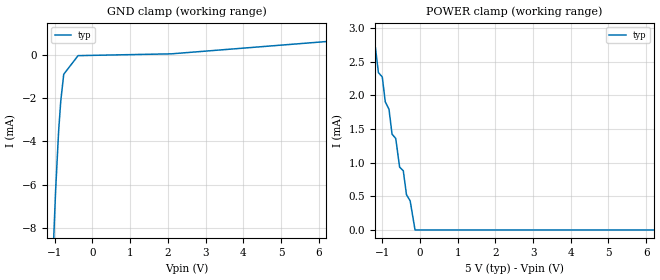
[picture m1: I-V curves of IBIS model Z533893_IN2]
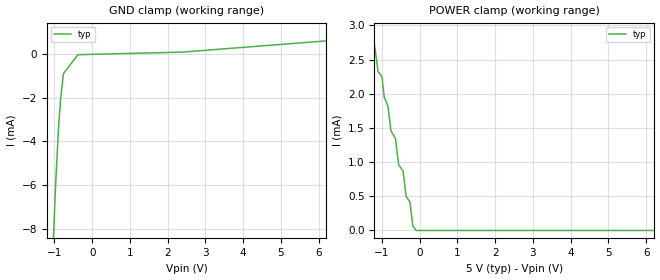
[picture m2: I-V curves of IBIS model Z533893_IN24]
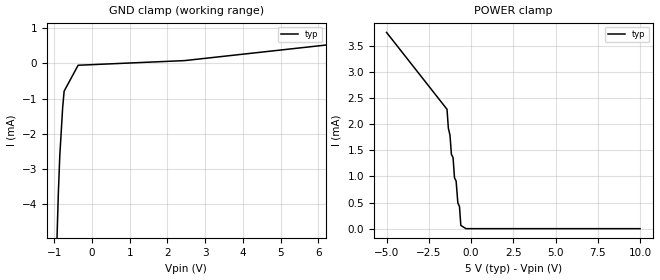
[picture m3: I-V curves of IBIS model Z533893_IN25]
| YOU ARE ONLY AUTHORIZED TO USE THIS SOFTWARE
| ACCORDING TO LICENSOR'S LICENSE RESTRICTIONS.
[IBIS Ver] 3.1
[File Name] mc10e154fn_pecl.ibs
[File Rev] 2.0
[Source] Measured and created by ICX Technology
[Date] Friday 7/14/00 9:07:49 AM
[Copyright]
| (C) COPYRIGHT 1993-2000
| MENTOR GRAPHICS CORPORATION
| ICX STANDARD LIBRARY, ICX PROJECT MODELING,
| ICX CUSTOM MODELING, ICX VENDOR MODEL
| ALL RIGHTS RESERVED.
| THE FOLLOWING ARE TRADEMARKS OR SERVICE MARKS OF
| MENTOR GRAPHICS CORPORATION:ICX (R), ICX STANDARD
| LIBRARY(R), ICX PROJECT MODELING(R), ICX CUSTOM
| MODELING(R), qualityIBIS(TM), MODELVIEWER(TM),
| AND MODELEDITOR(TM)
| ALL COPIES OF SOFTWARE, INCLUDING BUT NOT LIMITED TO
| ANY MODIFICATIONS, ENHANCEMENTS OR DERIVATIVE WORKS,
| MUST CONTAIN ALL MENTOR GRAPHICS CORPORATION'S
| NOTICES AND LEGENDS, INCLUDING THOSE EMBEDDED IN
| SOFTWARE AND THOSE AFFIXED TO SOFTWARE MEDIUM
| AND CONTAINER, AS RECEIVED FROM MENTOR GRAPHICS
| CORPORATION.
|  ZAP Model Builder 2.7
[Component] MC10E154FN_PECL
[Manufacturer] OnSemiconductor
[Package]
| variable   typ   min   max
R_pkg  .083ohms NA NA
L_pkg  4.299nH NA NA
C_pkg  1.045pF NA NA
[Pin] signal_name  model_name  R_pin  L_pin C_pin
1 VEE GND .08 3.94n .925p
2 MR Z533893_IN2 .082 4.14n .995p
3 D0A Z533893_IN5 .084 4.354n 1.065p
4 D0B Z533893_IN6 .086 4.583n 1.135p
5 D1A Z533893_IN5 .086 4.583n 1.135p
6 D1B Z533893_IN6 .084 4.354n 1.065p
7 D2A Z533893_IN5 .082 4.14n .995p
8 D2B Z533893_IN6 .08 3.94n .925p
9 VCCO POWER .082 4.14n .995p
10 Q0 Z533893_OUT10 .084 4.354n 1.065p
11 _Q0 Z533893_OUT11 .086 4.583n 1.135p
12 Q1 Z533893_OUT10 .086 4.583n 1.135p
13 _Q1 Z533893_OUT11 .084 4.354n 1.065p
14 Q2 Z533893_OUT17 .082 4.14n .995p
15 _Q2 Z533893_OUT18 .08 3.94n .925p
16 VCC POWER .082 4.14n .995p
17 Q3 Z533893_OUT17 .084 4.354n 1.065p
18 _Q3 Z533893_OUT18 .086 4.583n 1.135p
19 Q4 Z533893_OUT17 .086 4.583n 1.135p
20 _Q4 Z533893_OUT18 .084 4.354n 1.065p
21 VCCO POWER .082 4.14n .995p
22 D3A Z533893_IN24 .08 3.94n .925p
23 D3B Z533893_IN25 .082 4.14n .995p
24 D4A Z533893_IN24 .084 4.354n 1.065p
25 D4B Z533893_IN25 .086 4.583n 1.135p
26 SEL Z533893_IN27 .086 4.583n 1.135p
27 LEN1 Z533893_IN27 .084 4.354n 1.065p
28 LEN2 Z533893_IN28 .082 4.14n .995p
| Models and submodels in the file (11): Z533893_IN2 (Input_ECL), Z533893_IN24 (Input_ECL), Z533893_IN25 (Input_ECL), Z533893_IN27 (Input_ECL), Z533893_IN28 (Input_ECL), Z533893_IN5 (Input_ECL), Z533893_IN6 (Input_ECL), Z533893_OUT10 (Output_ECL), Z533893_OUT11 (Output_ECL), Z533893_OUT17 (Output_ECL), Z533893_OUT18 (Output_ECL)
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| (C) COPYRIGHT 1993-2000
| MENTOR GRAPHICS CORPORATION
| ICX STANDARD LIBRARY, ICX PROJECT MODELING,
| ICX CUSTOM MODELING, ICX VENDOR MODEL
| ALL RIGHTS RESERVED.
| THE FOLLOWING ARE TRADEMARKS OR SERVICE MARKS OF
| MENTOR GRAPHICS CORPORATION:ICX (R), ICX STANDARD
| LIBRARY(R), ICX PROJECT MODELING(R), ICX CUSTOM
| MODELING(R), qualityIBIS(TM), MODELVIEWER(TM),
| AND MODELEDITOR(TM)
| ALL COPIES OF SOFTWARE, INCLUDING BUT NOT LIMITED TO
| ANY MODIFICATIONS, ENHANCEMENTS OR DERIVATIVE WORKS,
| MUST CONTAIN ALL MENTOR GRAPHICS CORPORATION'S
| NOTICES AND LEGENDS, INCLUDING THOSE EMBEDDED IN
| SOFTWARE AND THOSE AFFIXED TO SOFTWARE MEDIUM
| AND CONTAINER, AS RECEIVED FROM MENTOR GRAPHICS
| CORPORATION.
| Model Application Version 1.89 2/18/99.
[Model] Z533893_IN2
Model_type Input_ECL
Vinl = 3.520V
Vinh = 3.870V
C_comp 4.000pF NA NA
| variable typ   min   max
[Voltage Range] 5.000V NA NA
[GND Clamp Reference] 0.000V NA NA
[POWER Clamp Reference] 5.000V NA NA
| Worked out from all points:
|   GND clamp passes 1 mA (typ) near -0.77 V on its own axis
|   POWER clamp passes 1 mA (typ) near -0.56 V on its own axis
[GND Clamp]
-5V       -239.4mA   NA         NA
-1.07V    -10.33mA   NA         NA
-976.4mV  -6.253mA   NA         NA
-896.1mV  -3.504mA   NA         NA
-839.3mV  -2.119mA   NA         NA
-761.7mV  -906.6uA   NA         NA
-380.8mV  -47.58uA   NA         NA
2.09V     34.77uA    NA         NA
10V       1.126mA    NA         NA
[POWER Clamp]
-5V       31.47mA    NA         NA
-1.381V   3.193mA    NA         NA
-1.18V    2.708mA    NA         NA
-1.102V   2.338mA    NA         NA
-999mV    2.273mA    NA         NA
-740mV    1.423mA    NA         NA
-642mV    1.36mA     NA         NA
-540mV    935.3uA    NA         NA
-442mV    879.9uA    NA         NA
-358mV    525.5uA    NA         NA
-130mV    0A         NA         NA
10V       0A         NA         NA
| (C) COPYRIGHT 1993-2000
| MENTOR GRAPHICS CORPORATION
| ICX STANDARD LIBRARY, ICX PROJECT MODELING,
| ICX CUSTOM MODELING, ICX VENDOR MODEL
| ALL RIGHTS RESERVED.
| THE FOLLOWING ARE TRADEMARKS OR SERVICE MARKS OF
| MENTOR GRAPHICS CORPORATION:ICX (R), ICX STANDARD
| LIBRARY(R), ICX PROJECT MODELING(R), ICX CUSTOM
| MODELING(R), qualityIBIS(TM), MODELVIEWER(TM),
| AND MODELEDITOR(TM)
| ALL COPIES OF SOFTWARE, INCLUDING BUT NOT LIMITED TO
| ANY MODIFICATIONS, ENHANCEMENTS OR DERIVATIVE WORKS,
| MUST CONTAIN ALL MENTOR GRAPHICS CORPORATION'S
| NOTICES AND LEGENDS, INCLUDING THOSE EMBEDDED IN
| SOFTWARE AND THOSE AFFIXED TO SOFTWARE MEDIUM
| AND CONTAINER, AS RECEIVED FROM MENTOR GRAPHICS
| CORPORATION.
| Model Application Version 1.89 2/18/99.
[Model] Z533893_IN24
Model_type Input_ECL
Vinl = 3.520V
Vinh = 3.870V
C_comp 4.000pF NA NA
| variable typ   min   max
[Voltage Range] 5.000V NA NA
[GND Clamp Reference] 0.000V NA NA
[POWER Clamp Reference] 5.000V NA NA
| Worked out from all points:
|   GND clamp passes 1 mA (typ) near -0.77 V on its own axis
|   POWER clamp passes 1 mA (typ) near -0.57 V on its own axis
[GND Clamp]
-5V       -240.4mA   NA         NA
-1.07V    -10.32mA   NA         NA
-976.5mV  -6.235mA   NA         NA
-896.5mV  -3.507mA   NA         NA
-839.3mV  -2.116mA   NA         NA
-761.8mV  -904.3uA   NA         NA
-380.9mV  -39.6uA    NA         NA
2.388V    78.97uA    NA         NA
10V       1.103mA    NA         NA
[POWER Clamp]
-5V       15.35mA    NA         NA
-1.4V     3.209mA    NA         NA
-1.2V     2.726mA    NA         NA
-1.102V   2.32mA     NA         NA
-842mV    1.819mA    NA         NA
-760mV    1.456mA    NA         NA
-642mV    1.344mA    NA         NA
-559mV    962.2uA    NA         NA
-442mV    870uA      NA         NA
-359mV    496.4uA    NA         NA
-91mV     0A         NA         NA
10V       0A         NA         NA
| (C) COPYRIGHT 1993-2000
| MENTOR GRAPHICS CORPORATION
| ICX STANDARD LIBRARY, ICX PROJECT MODELING,
| ICX CUSTOM MODELING, ICX VENDOR MODEL
| ALL RIGHTS RESERVED.
| THE FOLLOWING ARE TRADEMARKS OR SERVICE MARKS OF
| MENTOR GRAPHICS CORPORATION:ICX (R), ICX STANDARD
| LIBRARY(R), ICX PROJECT MODELING(R), ICX CUSTOM
| MODELING(R), qualityIBIS(TM), MODELVIEWER(TM),
| AND MODELEDITOR(TM)
| ALL COPIES OF SOFTWARE, INCLUDING BUT NOT LIMITED TO
| ANY MODIFICATIONS, ENHANCEMENTS OR DERIVATIVE WORKS,
| MUST CONTAIN ALL MENTOR GRAPHICS CORPORATION'S
| NOTICES AND LEGENDS, INCLUDING THOSE EMBEDDED IN
| SOFTWARE AND THOSE AFFIXED TO SOFTWARE MEDIUM
| AND CONTAINER, AS RECEIVED FROM MENTOR GRAPHICS
| CORPORATION.
| Model Application Version 1.89 2/18/99.
[Model] Z533893_IN25
Model_type Input_ECL
Vinl = 3.520V
Vinh = 3.870V
C_comp 4.000pF NA NA
| variable typ   min   max
[Voltage Range] 5.000V NA NA
[GND Clamp Reference] 0.000V NA NA
[POWER Clamp Reference] 5.000V NA NA
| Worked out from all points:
|   GND clamp passes 1 mA (typ) near -0.76 V on its own axis
|   POWER clamp passes 1 mA (typ) near -0.98 V on its own axis
[GND Clamp]
-5V       -232.7mA   NA         NA
-1.015V   -7.956mA   NA         NA
-896.1mV  -3.672mA   NA         NA
-858.4mV  -2.63mA    NA         NA
-781.4mV  -1.243mA   NA         NA
-742.3mV  -783.5uA   NA         NA
-371.1mV  -49.95uA   NA         NA
2.453V    81.97uA    NA         NA
10V       969.8uA    NA         NA
[POWER Clamp]
-5V       3.761mA    NA         NA
-1.421V   2.287mA    NA         NA
-1.342V   1.924mA    NA         NA
-1.245V   1.79mA     NA         NA
-1.162V   1.424mA    NA         NA
-1.064V   1.362mA    NA         NA
-980mV    978.1uA    NA         NA
-882mV    909.6uA    NA         NA
-781mV    494.1uA    NA         NA
-683mV    422.3uA    NA         NA
-605mV    62.52uA    NA         NA
10V       0A         NA         NA
